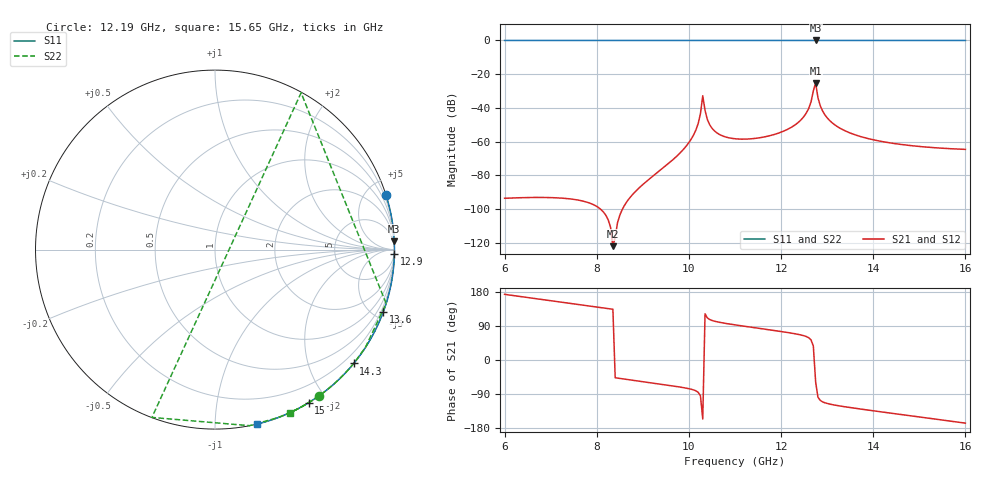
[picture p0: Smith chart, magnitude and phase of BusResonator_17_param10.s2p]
! Sonnet Data File
! From: emgraph Version : 16.54
! From Project: BusResonator_17
! Data is De-embedded
! Data File Written: 08/31/2017 18:33:07
!< HDATE 08/31/2017 16:58:22
!< MDATE 08/31/2017 17:03:00
!< PARAMS
!< BusLengthControl = 4600.0
!< END PARAMS
# GHZ S MA R 50.00000
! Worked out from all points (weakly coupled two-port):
!   799 points, 6 GHz to 16 GHz, reference 50 ohm
!   highest |S21| = -25.17 dB at 12.75 GHz (marker M1); lowest = -122.0 dB at 8.35 GHz (marker M2)
!   lowest |S11| = 0.0 dB at 12.75 GHz (marker M3)
!   |S11| at or under -10 dB: nowhere
!   |S22| runs from 0.0 to 0.0 dB; largest |S21 - S12| = 0
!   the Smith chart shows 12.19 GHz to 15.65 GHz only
!   S11 on the Smith chart (normalised r, x): 12.19 GHz: 0.00, +6.40; 12.9 GHz: 0, -80; 13.6 GHz: 0.00, -5.57; 14.3 GHz: 0.00, -2.79; 15 GHz: 0.00, -1.78; 15.65 GHz: 0.00, -1.27
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6  1 -167.8  2.097e-05 173.2  2.097e-05 173.2  1 -25.7
!< P1 F=6.0 Eeff=(6.44857038 -2.9736e-5) Z0=(51.7893065 1.19468e-4) R=0.05083541 C=0.00240605
!< P2 F=6.0 Eeff=(6.44857038 -2.9736e-5) Z0=(51.7893065 1.19468e-4) R=0.05083541 C=0.00240605
7.7  1 142.9  1.732e-05 144.8  1.732e-05 144.8  1 -33.3
8.35  1 124.2  7.978e-07 133.9  7.978e-07 133.9  1 -36.4
9.35  1 95.9  0.0001325 -63.0  0.0001325 -63.0  1 -41.9
9.85  1 81.9  0.0005312 -72.3  0.0005312 -72.3  1 -46.4
10.1  1 74.9  0.001568 -79.0  0.001568 -79.0  1 -52.8
10.15  1 73.5  0.002191 -81.3  0.002191 -81.3  1 -56.1
10.3  0.9997 69.4  0.02285 -155.7  0.02285 -155.7  0.9977 159.2
10.5  1 63.9  0.002505 104.3  0.002505 104.3  1 -35.2
11  1 50.1  0.001218 92.7  0.001218 92.7  1 -44.8
12.19001  1 17.8  0.002516 71.6  0.002516 71.6  1 -54.6
12.55  1 8.0  0.007159 61.8  0.007159 61.8  0.9999 -64.5
12.7  0.9995 3.9  0.03185 36.6  0.03185 36.6  0.9989 -110.6
12.75  0.9985 2.7  0.05516 -58.0  0.05516 -58.0  0.9966 61.2
12.9  1 -1.4  0.008157 -110.4  0.008157 -110.4  0.9999 -39.4
13.05  1 -5.5  0.004288 -116.2  0.004288 -116.2  1 -46.9
13.6  1 -20.4  0.001606 -127.3  0.001606 -127.3  1 -54.2
14.3  1 -39.4  0.0009498 -139.0  0.0009498 -139.0  1 -58.5
14.35  1 -40.7  0.0009259 -139.8  0.0009259 -139.8  1 -58.8
15  1 -58.5  0.0007203 -150.3  0.0007203 -150.3  1 -62.2
15.65  1 -76.5  0.000621 -160.9  0.000621 -160.9  1 -65.3
16  1 -86.2  0.0005901 -166.6  0.0005901 -166.6  1 -67.0
